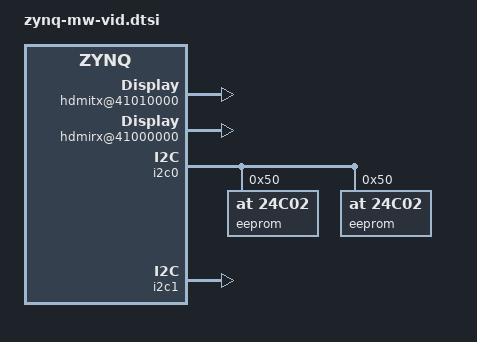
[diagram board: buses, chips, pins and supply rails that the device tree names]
/{
	chosen {
		bootargs = "console=ttyPS0,115200 root=/dev/ram rw earlyprintk cma=128M";
		linux,stdout-path = "/amba@0/uart@E0001000";
	};
	
	amba@0{
		hdmitx@41010000 {
			compatible = "mathworks,mwgeneric-v1.00";
			reg = <0x41010000 0xffff>;
			mwgen,ipname = "adi,axi_hdmi_tx_16b";
			mwgen,devname = "hdmitx";
			mwgen,ipinst = "axi_hdmi_tx_16b_0";
			mwgen,ipver = "1.00.a";
		};
		hdmirx@41000000 {
			compatible = "mathworks,mwgeneric-v1.00";
			reg = <0x41000000 0xffff>;
			mwgen,ipname = "adi,axi_hdmi_16b_es";
			mwgen,devname = "hdmirx";
			mwgen,ipinst = "axi_hdmi_16b_es_0";
			mwgen,ipver = "1.00.a";
		};
		vdma_hdmi@42000000 {
			compatible = "mathworks,mwgeneric-v1.00";
			reg = <0x42000000 0xffff>;
			mwgen,ipname = "xlnx,axi_vdma";
			mwgen,devname = "vdma";
			mwgen,ipinst = "vdma_hdmi";
			mwgen,ipver = "5.04.a";
		};
		vdma_filter@42010000 {
			compatible = "mathworks,mwgeneric-v1.00";
			reg = <0x42010000 0xffff>;
			mwgen,ipname = "xlnx,axi_vdma";
			mwgen,devname = "vdma";
			mwgen,ipinst = "vdma_filter";
			mwgen,ipver = "5.04.a";
		};
		clkgen@43000000 {
			compatible = "mathworks,mwgeneric-v1.00";
			reg = <0x43000000 0xffff>;
			mwgen,ipname = "axi_clkgen";
			mwgen,devname = "clkgen";
			mwgen,ipinst = "axi_clkgen_0";
			mwgen,ipver = "1.00.a";
		};
		mwtc@43010000 {
			compatible = "mathworks,mwgeneric-v1.00";
			reg = <0x43010000 0xffff>;
			mwgen,ipname = "mathworks,mwtc";
			mwgen,devname = "mwtc";
			mwgen,ipinst = "mwtc_0";
			mwgen,ipver = "1.00.a";
		};
		vita@42020000 {
			compatible = "mathworks,mwgeneric-v1.00";
			reg = <0x42020000 0xffff>;
			mwgen,ipname = "avnet,fmc_imageon_vita_receiver";
			mwgen,devname = "vitarx";
			mwgen,ipinst = "vita_rx";
			mwgen,ipver = "1.12.a";
		};
		cl2axis@42030000 {
			compatible = "mathworks,mwgeneric-v1.00";
			reg = <0x42030000 0xffff>;
			mwgen,ipname = "mathworks,cl2axis";
			mwgen,devname = "cl2axis";
			mwgen,ipinst = "cl2axis";
			mwgen,ipver = "1.00.a";
		};
		gpio@43020000 {
			compatible = "mathworks,mwgeneric-v1.00";
			reg = <0x43020000 0xffff>;
			mwgen,ipname = "xlnx,axi_gpio";
			mwgen,devname = "axigpio";
			mwgen,ipinst = "axi_gpio_0";
			mwgen,ipver = "1.12.a";
		};
		
		i2c0: i2c@e0004000 {
			i2cswitch@74 {
				i2c@5 {
					#address-cells = <1>;
					#size-cells = <0>;
					reg = <5>;
					eeprom@50 {
						compatible = "at,24c02";
						reg = <0x50>;
					};
				};
				i2c@6 {
					#address-cells = <1>;
					#size-cells = <0>;
					reg = <6>;
					eeprom@50 {
						compatible = "at,24c02";
						reg = <0x50>;
					};
				};
			};
		};
		i2c1: i2c@e0005000 {
			compatible = "xlnx,ps7-i2c-1.00.a";
			reg = <0xE0005000 0x1000>;
			interrupts = <0 48 4>;
			interrupt-parent = <&gic>;
			bus-id = <1>;
			input-clk = <111111111>;
			i2c-clk = <100000>;

			#address-cells = <1>;
			#size-cells = <0>;
		};
	};
};
